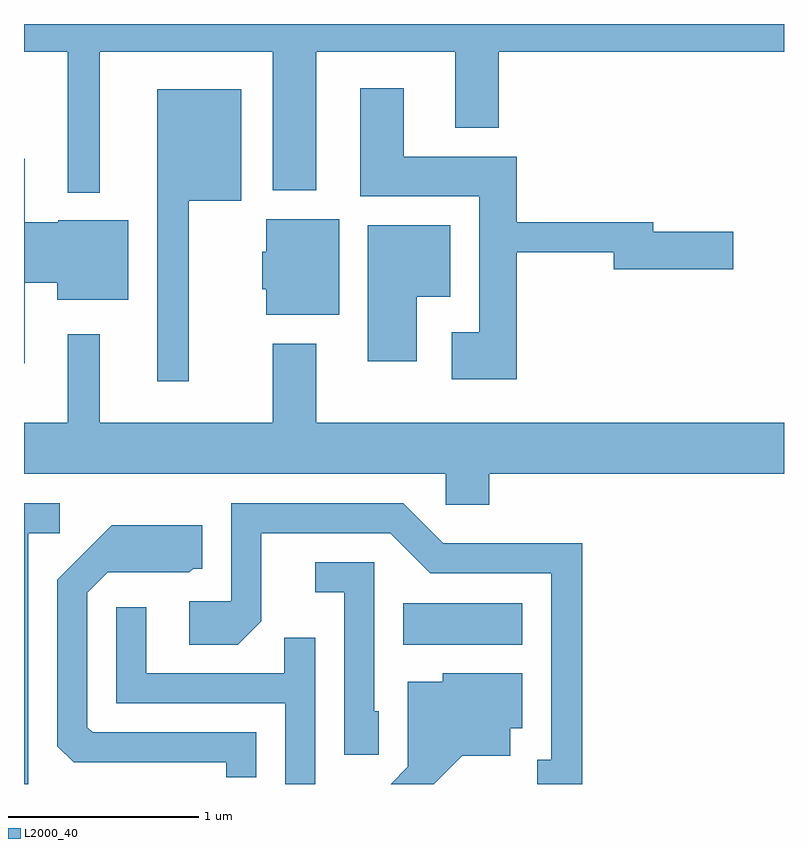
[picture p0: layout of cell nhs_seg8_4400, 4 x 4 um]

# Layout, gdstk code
import gdstk
lib = gdstk.Library(unit=1e-6, precision=1e-09)
def R(c, l, rs):  # rectangles x0, y0, x1, y1
    for r in rs: c.add(gdstk.rectangle(r[:2], r[2:], *l))
def P(c, l, *ps):  # polygons
    for p in ps: c.add(gdstk.Polygon(p, *l))
L2000_40 = (2000, 40)

nhs_seg8_4400 = lib.new_cell('nhs_seg8_4400')
R(nhs_seg8_4400, L2000_40, [(319.606,1831.076,320.234,1831.294)])
P(nhs_seg8_4400, L2000_40, [(318.009,1834.196),(318.921,1834.196),(318.921,1833.466),(319.149,1833.466),(319.149,1834.196),(319.881,1834.196),(319.881,1833.796),(320.109,1833.796),(320.109,1834.196),(321.611,1834.196),(321.611,1834.342),(317.611,1834.342),(317.611,1834.196),(317.841,1834.196),(317.841,1833.453),(318.009,1833.453)],
  [(320.204,1833.141),(320.716,1833.141),(320.716,1833.051),(321.344,1833.051),(321.344,1833.249),(320.924,1833.249),(320.924,1833.299),(320.204,1833.299),(320.204,1833.644),(319.609,1833.644),(319.609,1834.004),(319.381,1834.004),(319.381,1833.436),(320.006,1833.436),(320.006,1832.719),(319.861,1832.719),(319.861,1832.471),(320.204,1832.471)],
  [(318.479,1833.411),(318.754,1833.411),(318.754,1833.999),(318.311,1833.999),(318.311,1832.463),(318.479,1832.463)],
  [(317.614,1832.981),(317.786,1832.981),(317.786,1832.891),(318.159,1832.891),(318.159,1833.309),(317.79,1833.309),(317.79,1833.299),(317.614,1833.299),(317.614,1833.634),(317.611,1833.634),(317.611,1832.556),(317.614,1832.556)],
  [(319.269,1833.314),(318.886,1833.314),(318.886,1833.144),(318.866,1833.144),(318.866,1832.946),(318.886,1832.946),(318.886,1832.811),(319.269,1832.811)],
  [(319.679,1832.906),(319.854,1832.906),(319.854,1833.284),(319.421,1833.284),(319.421,1832.566),(319.679,1832.566)],
  [(319.831,1831.811),(320.059,1831.811),(320.059,1831.976),(321.611,1831.976),(321.611,1832.244),(319.149,1832.244),(319.149,1832.659),(318.921,1832.659),(318.921,1832.244),(318.009,1832.244),(318.009,1832.708),(317.841,1832.708),(317.841,1832.244),(317.611,1832.244),(317.611,1831.976),(319.831,1831.976)],
  [(317.634,1831.661),(317.798,1831.661),(317.798,1831.819),(317.611,1831.819),(317.611,1830.342),(317.634,1830.342)],
  [(320.549,1831.609),(319.817,1831.609),(319.607,1831.819),(318.701,1831.819),(318.701,1831.304),(318.481,1831.304),(318.481,1831.076),(318.737,1831.076),(318.859,1831.199),(318.859,1831.661),(319.539,1831.661),(319.749,1831.451),(320.386,1831.451),(320.386,1830.469),(320.313,1830.469),(320.313,1830.342),(320.549,1830.342)],
  [(318.834,1830.614),(317.972,1830.614),(317.944,1830.642),(317.944,1831.349),(318.052,1831.456),(318.482,1831.456),(318.502,1831.476),(318.549,1831.476),(318.549,1831.704),(318.074,1831.704),(317.786,1831.417),(317.786,1830.542),(317.872,1830.456),(318.676,1830.456),(318.676,1830.378),(318.834,1830.378)],
  [(319.479,1830.724),(319.454,1830.724),(319.454,1831.509),(319.143,1831.509),(319.143,1831.351),(319.296,1831.351),(319.296,1830.496),(319.479,1830.496)],
  [(319.144,1831.113),(318.981,1831.113),(318.981,1830.924),(318.254,1830.924),(318.254,1831.273),(318.096,1831.273),(318.096,1830.766),(318.986,1830.766),(318.986,1830.342),(319.144,1830.342)],
  [(319.917,1830.491),(320.169,1830.491),(320.169,1830.636),(320.234,1830.636),(320.234,1830.924),(319.816,1830.924),(319.816,1830.879),(319.631,1830.879),(319.631,1830.432),(319.542,1830.342),(319.768,1830.342)])

lib.write_gds('nhs_seg8_4400.gds')
